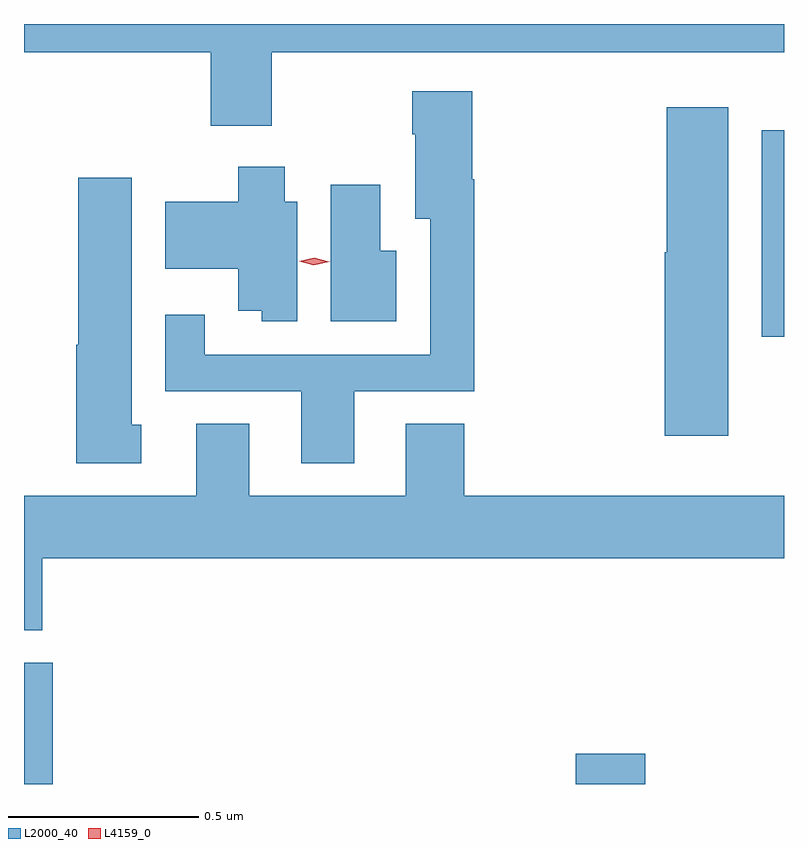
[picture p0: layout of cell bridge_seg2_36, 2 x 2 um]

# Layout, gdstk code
import gdstk
lib = gdstk.Library(unit=1e-6, precision=1e-09)
def R(c, l, rs):  # rectangles x0, y0, x1, y1
    for r in rs: c.add(gdstk.rectangle(r[:2], r[2:], *l))
def P(c, l, *ps):  # polygons
    for p in ps: c.add(gdstk.Polygon(p, *l))
L2000_40 = (2000, 40)
L4159_0 = (4159, 0)

bridge_seg2_36 = lib.new_cell('bridge_seg2_36')
R(bridge_seg2_36, L2000_40, [(769.718,605.75,769.793,606.069), (771.17,605.75,771.353,605.83), (771.66,606.927,771.718,607.47)])
P(bridge_seg2_36, L2000_40, [(770.37,607.676),(771.718,607.676),(771.718,607.75),(769.718,607.75),(769.718,607.676),(770.21,607.676),(770.21,607.482),(770.37,607.482)],
  [(770.587,606.783),(770.903,606.783),(770.903,607.342),(770.897,607.342),(770.897,607.573),(770.74,607.573),(770.74,607.46),(770.747,607.46),(770.747,607.238),(770.787,607.238),(770.787,606.879),(770.194,606.879),(770.194,606.985),(770.09,606.985),(770.09,606.783),(770.447,606.783),(770.447,606.594),(770.587,606.594)],
  [(771.571,607.531),(771.41,607.531),(771.41,607.149),(771.404,607.149),(771.404,606.666),(771.571,606.666)],
  [(770.437,607.282),(770.404,607.282),(770.404,607.375),(770.282,607.375),(770.282,607.282),(770.09,607.282),(770.09,607.106),(770.282,607.106),(770.282,606.995),(770.343,606.995),(770.343,606.968),(770.437,606.968)],
  [(770.026,606.696),(770.002,606.696),(770.002,607.345),(769.861,607.345),(769.861,606.906),(769.856,606.906),(769.856,606.594),(770.026,606.594)],
  [(770.698,607.153),(770.656,607.153),(770.656,607.327),(770.525,607.327),(770.525,606.968),(770.698,606.968)],
  [(769.766,606.344),(771.718,606.344),(771.718,606.508),(770.876,606.508),(770.876,606.698),(770.723,606.698),(770.723,606.508),(770.311,606.508),(770.311,606.698),(770.171,606.698),(770.171,606.508),(769.718,606.508),(769.718,606.154),(769.766,606.154)])
P(bridge_seg2_36, L4159_0, [(770.481,607.115),(770.442,607.126),(770.441,607.126),(770.442,607.126),(770.482,607.135),(770.521,607.125),(770.522,607.124),(770.521,607.124)])

lib.write_gds('bridge_seg2_36.gds')
